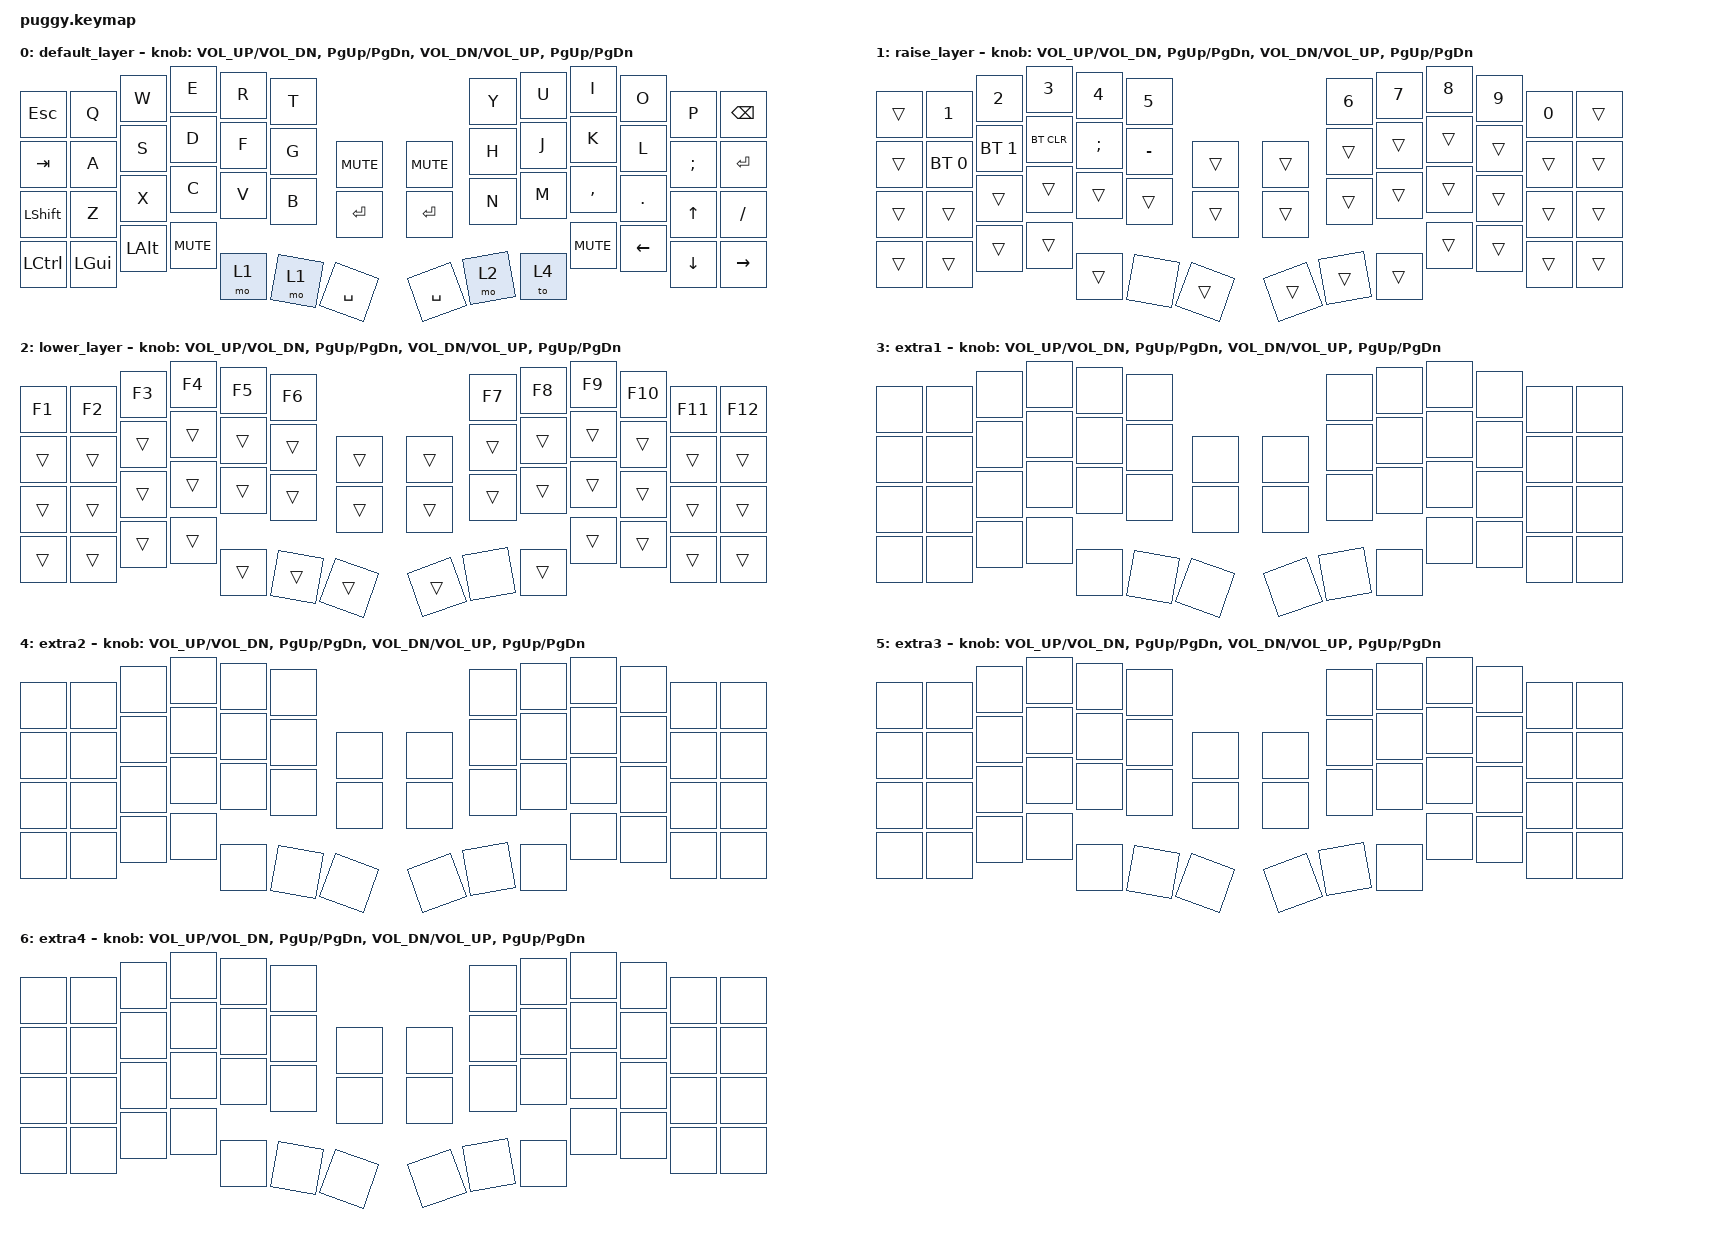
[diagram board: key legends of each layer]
#include <behaviors.dtsi>
#include <dt-bindings/zmk/keys.h>
#include <dt-bindings/zmk/bt.h>

/ {
    keymap {
        compatible = "zmk,keymap";

        default_layer {
            bindings = <
                &kp ESC    &kp Q      &kp W      &kp E      &kp R      &kp T                                 &kp Y      &kp U      &kp I      &kp O      &kp P      &kp BSPC 
                &kp TAB    &kp A      &kp S      &kp D      &kp F      &kp G      &kp C_MUTE      &kp C_MUTE &kp H      &kp J      &kp K      &kp L      &kp SEMI   &kp RET  
                &kp LSHFT  &kp Z      &kp X      &kp C      &kp V      &kp B      &kp RET         &kp RET    &kp N      &kp M      &kp COMMA  &kp DOT    &kp UP   &kp FSLH
                &kp LCTRL  &kp LGUI   &kp LALT    &kp C_MUTE &mo 1      &mo 1      &kp SPACE       &kp SPACE    &mo 2      &to 4      &kp C_MUTE &kp LEFT   &kp DOWN   &kp RIGHT 
            >;

            sensor-bindings = <
                // left  vertical   encoder  up       <-> down
                &inc_dec_kp                  C_VOL_UP     C_VOL_DN
                // left  horizontal encoder  right    <-> left
                &inc_dec_kp                  PG_UP        PG_DN
                // right vertical   encoder  down     <-> up
                &inc_dec_kp                  C_VOL_DN     C_VOL_UP
                // right horizontal encoder  right    <-> left
                &inc_dec_kp                  PG_UP        PG_DN
            >;
        };

raise_layer {
            bindings = <
                &trans &kp N1 &kp N2 &kp N3 &kp N4 &kp N5                     &kp N6 &kp N7 &kp N8 &kp N9 &kp N0 &trans
                &trans &bt BT_SEL 0 &bt BT_SEL 1 &bt BT_CLR &kp SEMI &kp MINUS &trans &trans &trans &trans &trans &trans &trans &trans
                &trans &trans &trans &trans &trans &trans &trans    &trans &trans &trans &trans &trans &trans &trans
                &trans &trans &trans &trans &trans &none &trans     &trans &trans &trans &trans &trans &trans &trans
            >;
            sensor-bindings = < // encoders
                &inc_dec_kp C_VOL_UP C_VOL_DN
                &inc_dec_kp PG_UP    PG_DN
                &inc_dec_kp C_VOL_DN C_VOL_UP
                &inc_dec_kp PG_UP    PG_DN
            >;
        };

        lower_layer {
            bindings = <
                &kp F1 &kp F2 &kp F3 &kp F4 &kp F5 &kp F6                    &kp F7 &kp F8 &kp F9 &kp F10 &kp F11 &kp F12
                &trans &trans &trans &trans &trans &trans &trans      &trans &trans &trans &trans &trans  &trans  &trans
                &trans &trans &trans &trans &trans &trans &trans      &trans &trans &trans &trans &trans  &trans  &trans
                &trans &trans &trans &trans &trans &trans &trans      &trans &none  &trans &trans &trans  &trans  &trans
            >;

            sensor-bindings = <
                // left  vertical   encoder  up       <-> down
                &inc_dec_kp                  C_VOL_UP     C_VOL_DN
                // left  horizontal encoder  right    <-> left
                &inc_dec_kp                  PG_UP        PG_DN
                // right vertical   encoder  down     <-> up
                &inc_dec_kp                  C_VOL_DN     C_VOL_UP
                // right horizontal encoder  right    <-> left
                &inc_dec_kp                  PG_UP        PG_DN
            >;
        };

        extra1 {
            bindings = <
                &none &none &none &none &none &none                 &none &none &none &none &none &none
                &none &none &none &none &none &none &none     &none &none &none &none &none &none &none
                &none &none &none &none &none &none &none     &none &none &none &none &none &none &none
                &none &none &none &none &none &none &none     &none &none &none &none &none &none &none
            >;

            sensor-bindings = <
                // left  vertical   encoder  up       <-> down
                &inc_dec_kp                  C_VOL_UP     C_VOL_DN
                // left  horizontal encoder  right    <-> left
                &inc_dec_kp                  PG_UP        PG_DN
                // right vertical   encoder  down     <-> up
                &inc_dec_kp                  C_VOL_DN     C_VOL_UP
                // right horizontal encoder  right    <-> left
                &inc_dec_kp                  PG_UP        PG_DN
            >;
        };

        extra2 {
            bindings = <
                &none &none &none &none &none &none                 &none &none &none &none &none &none
                &none &none &none &none &none &none &none     &none &none &none &none &none &none &none
                &none &none &none &none &none &none &none     &none &none &none &none &none &none &none
                &none &none &none &none &none &none &none     &none &none &none &none &none &none &none
            >;

            sensor-bindings = <
                // left  vertical   encoder  up       <-> down
                &inc_dec_kp                  C_VOL_UP     C_VOL_DN
                // left  horizontal encoder  right    <-> left
                &inc_dec_kp                  PG_UP        PG_DN
                // right vertical   encoder  down     <-> up
                &inc_dec_kp                  C_VOL_DN     C_VOL_UP
                // right horizontal encoder  right    <-> left
                &inc_dec_kp                  PG_UP        PG_DN
            >;
        };

        extra3 {
            bindings = <
                &none &none &none &none &none &none                 &none &none &none &none &none &none
                &none &none &none &none &none &none &none     &none &none &none &none &none &none &none
                &none &none &none &none &none &none &none     &none &none &none &none &none &none &none
                &none &none &none &none &none &none &none     &none &none &none &none &none &none &none
            >;

            sensor-bindings = <
                // left  vertical   encoder  up       <-> down
                &inc_dec_kp                  C_VOL_UP     C_VOL_DN
                // left  horizontal encoder  right    <-> left
                &inc_dec_kp                  PG_UP        PG_DN
                // right vertical   encoder  down     <-> up
                &inc_dec_kp                  C_VOL_DN     C_VOL_UP
                // right horizontal encoder  right    <-> left
                &inc_dec_kp                  PG_UP        PG_DN
            >;
        };

        extra4 {
            bindings = <
                &none &none &none &none &none &none                 &none &none &none &none &none &none
                &none &none &none &none &none &none &none     &none &none &none &none &none &none &none
                &none &none &none &none &none &none &none     &none &none &none &none &none &none &none
                &none &none &none &none &none &none &none     &none &none &none &none &none &none &none
            >;

            sensor-bindings = <
                // left  vertical   encoder  up       <-> down
                &inc_dec_kp                  C_VOL_UP     C_VOL_DN
                // left  horizontal encoder  right    <-> left
                &inc_dec_kp                  PG_UP        PG_DN
                // right vertical   encoder  down     <-> up
                &inc_dec_kp                  C_VOL_DN     C_VOL_UP
                // right horizontal encoder  right    <-> left
                &inc_dec_kp                  PG_UP        PG_DN
            >;
        };
    };
};
